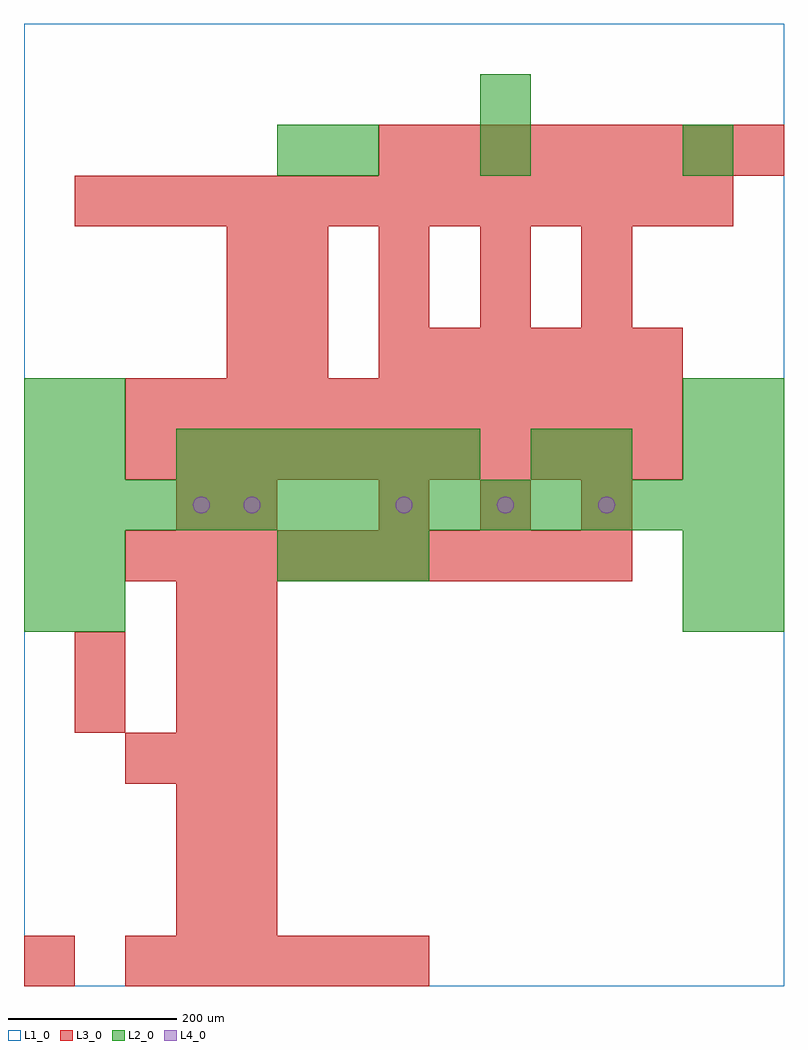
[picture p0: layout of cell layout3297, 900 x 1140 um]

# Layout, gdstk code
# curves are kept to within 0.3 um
import gdstk
lib = gdstk.Library(unit=1e-6, precision=1e-09)
def R(c, l, rs):  # rectangles x0, y0, x1, y1
    for r in rs: c.add(gdstk.rectangle(r[:2], r[2:], *l))
def A(c, l, x, y, w, h, nx, ny, dx, dy):  # array of equal rectangles
    R(c, l, [(x+i*dx, y+j*dy, x+i*dx+w, y+j*dy+h) for i in range(nx) for j in range(ny)])
def P(c, l, *ps):  # polygons
    for p in ps: c.add(gdstk.Polygon(p, *l))
L1_0 = (1, 0)
L2_0 = (2, 0)
L3_0 = (3, 0)
L4_0 = (4, 0)

layout3297 = lib.new_cell('layout3297')
R(layout3297, L1_0, [(0,0,900,1140)])
A(layout3297, L2_0, 300, 480, 60, 60, 3, 1, 60, 0)
A(layout3297, L2_0, 0, 540, 60, 60, 15, 1, 60, 0)
A(layout3297, L2_0, 180, 600, 60, 60, 6, 1, 60, 0)
R(layout3297, L2_0, [(0,420,60,480), (60,420,120,480), (780,420,840,480), (840,420,900,480), (0,480,60,540), (60,480,120,540), (780,480,840,540), (840,480,900,540), (0,600,60,660), (60,600,120,660), (600,600,660,660), (660,600,720,660), (780,600,840,660), (840,600,900,660), (0,660,60,720), (60,660,120,720), (780,660,840,720), (840,660,900,720), (300,960,360,1020), (360,960,420,1020), (540,960,600,1020), (780,960,840,1020), (540,1020,600,1080)])
A(layout3297, L3_0, 120, 0, 60, 60, 6, 1, 60, 0)
A(layout3297, L3_0, 180, 60, 60, 60, 1, 3, 0, 60)
A(layout3297, L3_0, 240, 60, 60, 60, 1, 3, 0, 60)
A(layout3297, L3_0, 120, 240, 60, 60, 3, 1, 60, 0)
A(layout3297, L3_0, 180, 300, 60, 60, 1, 3, 0, 60)
A(layout3297, L3_0, 240, 300, 60, 60, 1, 3, 0, 60)
A(layout3297, L3_0, 120, 480, 60, 60, 10, 1, 60, 0)
A(layout3297, L3_0, 420, 540, 60, 60, 3, 1, 120, 0)
A(layout3297, L3_0, 120, 600, 60, 60, 11, 2, 60, 60)
A(layout3297, L3_0, 240, 720, 60, 60, 1, 3, 0, 60)
A(layout3297, L3_0, 420, 720, 60, 60, 6, 1, 60, 0)
A(layout3297, L3_0, 300, 780, 60, 60, 4, 2, 120, 60)
A(layout3297, L3_0, 60, 900, 60, 60, 13, 1, 60, 0)
A(layout3297, L3_0, 420, 960, 60, 60, 8, 1, 60, 0)
R(layout3297, L3_0, [(0,0,60,60), (60,300,120,360), (60,360,120,420), (180,540,240,600), (240,540,300,600), (300,720,360,780)])
P(layout3297, L4_0, [(220,570),(219.239,573.827),(217.071,577.071),(213.827,579.239),(210,580),(206.173,579.239),(202.929,577.071),(200.761,573.827),(200,570),(200.761,566.173),(202.929,562.929),(206.173,560.761),(210,560),(213.827,560.761),(217.071,562.929),(219.239,566.173)],
  [(280,570),(279.239,573.827),(277.071,577.071),(273.827,579.239),(270,580),(266.173,579.239),(262.929,577.071),(260.761,573.827),(260,570),(260.761,566.173),(262.929,562.929),(266.173,560.761),(270,560),(273.827,560.761),(277.071,562.929),(279.239,566.173)],
  [(460,570),(459.239,573.827),(457.071,577.071),(453.827,579.239),(450,580),(446.173,579.239),(442.929,577.071),(440.761,573.827),(440,570),(440.761,566.173),(442.929,562.929),(446.173,560.761),(450,560),(453.827,560.761),(457.071,562.929),(459.239,566.173)],
  [(580,570),(579.239,573.827),(577.071,577.071),(573.827,579.239),(570,580),(566.173,579.239),(562.929,577.071),(560.761,573.827),(560,570),(560.761,566.173),(562.929,562.929),(566.173,560.761),(570,560),(573.827,560.761),(577.071,562.929),(579.239,566.173)],
  [(700,570),(699.239,573.827),(697.071,577.071),(693.827,579.239),(690,580),(686.173,579.239),(682.929,577.071),(680.761,573.827),(680,570),(680.761,566.173),(682.929,562.929),(686.173,560.761),(690,560),(693.827,560.761),(697.071,562.929),(699.239,566.173)])

lib.write_gds('layout3297.gds')
